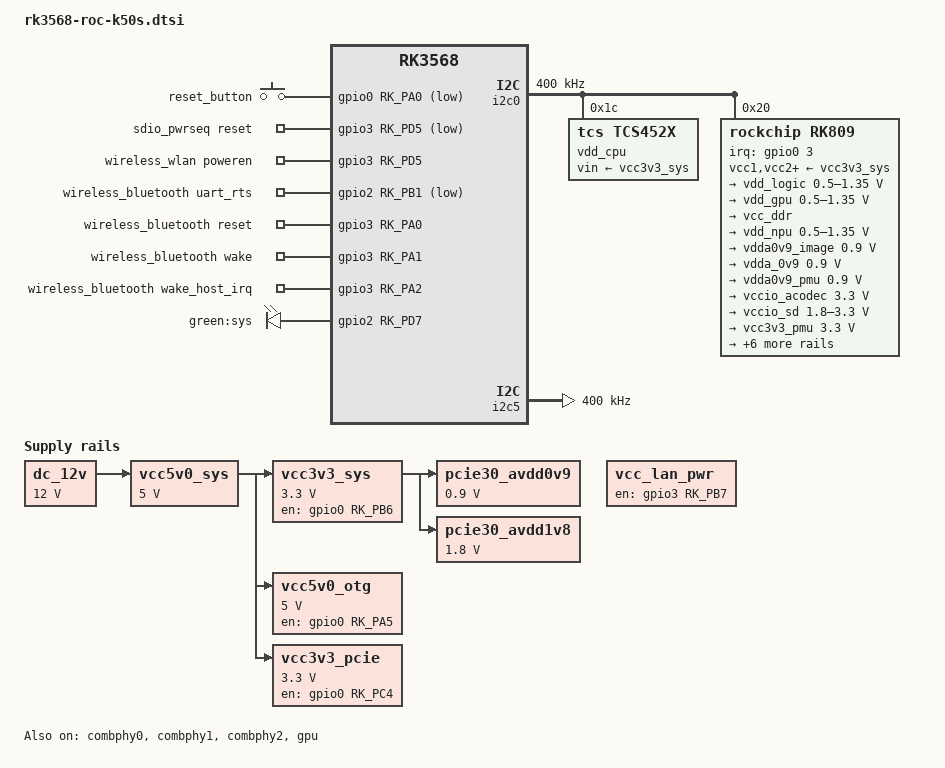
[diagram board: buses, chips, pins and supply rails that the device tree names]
// SPDX-License-Identifier: (GPL-2.0+ OR MIT)
/*
 * Copyright (c) 2020 Rockchip Electronics Co., Ltd.
 *
 */

/dts-v1/;

#include <dt-bindings/gpio/gpio.h>
#include <dt-bindings/pinctrl/rockchip.h>
#include <dt-bindings/pwm/pwm.h>
#include <dt-bindings/input/input.h>
#include "rk3568.dtsi"

/ {
	aliases {
		mmc0 = &sdmmc0;
		mmc1 = &sdhci;

		led-boot = &led_green;
		led-failsafe = &led_green;
		led-running = &led_green;
		led-upgrade = &led_green;
	};


	chosen {
		bootargs ="console=uart8250,mmio32,0xfe660000";
	};

	

	firmware {
		optee: optee {
			compatible = "linaro,optee-tz";
			method = "smc";
		};
	};


	cspmu: cspmu@fd90c000 {
		compatible = "rockchip,cspmu";
		reg = <0x0 0xfd90c000 0x0 0x1000>,
			<0x0 0xfd90d000 0x0 0x1000>,
			<0x0 0xfd90e000 0x0 0x1000>,
			<0x0 0xfd90f000 0x0 0x1000>;
	};

	dc_12v: dc-12v {
		compatible = "regulator-fixed";
		regulator-name = "dc_12v";
		regulator-always-on;
		regulator-boot-on;
		regulator-min-microvolt = <12000000>;
		regulator-max-microvolt = <12000000>;
	};

	vcc5v0_sys: vcc5v0-sys {
		compatible = "regulator-fixed";
		regulator-name = "vcc5v0_sys";
		regulator-always-on;
		regulator-boot-on;
		regulator-min-microvolt = <5000000>;
		regulator-max-microvolt = <5000000>;
		vin-supply = <&dc_12v>;
	};

	vcc3v3_sys: vcc3v3-sys {
		compatible = "regulator-fixed";
		regulator-name = "vcc3v3_sys";
		regulator-always-on;
		regulator-boot-on;
		regulator-min-microvolt = <3300000>;
		regulator-max-microvolt = <3300000>;
		enable-active-high;
		gpio = <&gpio0 RK_PB6 GPIO_ACTIVE_HIGH>;
		pinctrl-names = "default";
		
		vin-supply = <&vcc5v0_sys>;
	};

	vcc_lan_pwr: vcc-lan-pwr {
		compatible = "regulator-fixed";
		regulator-name = "vcc_lan_pwr";
		regulator-always-on;
		regulator-boot-on;
		enable-active-high;
		gpio = <&gpio3 RK_PB7 GPIO_ACTIVE_HIGH>;
	};

	vcc5v0_otg: vcc5v0-otg-regulator {
		compatible = "regulator-fixed";
		regulator-name = "vcc5v0_otg";
		regulator-min-microvolt = <5000000>;
		regulator-max-microvolt = <5000000>;
		enable-active-high;
		gpio = <&gpio0 RK_PA5 GPIO_ACTIVE_HIGH>;
		vin-supply = <&vcc5v0_sys>;
		pinctrl-names = "default";
		
	};

	pcie30_avdd0v9: pcie30-avdd0v9 {
		compatible = "regulator-fixed";
		regulator-name = "pcie30_avdd0v9";
		regulator-always-on;
		regulator-boot-on;
		regulator-min-microvolt = <900000>;
		regulator-max-microvolt = <900000>;
		vin-supply = <&vcc3v3_sys>;
	};

	pcie30_avdd1v8: pcie30-avdd1v8 {
		compatible = "regulator-fixed";
		regulator-name = "pcie30_avdd1v8";
		regulator-always-on;
		regulator-boot-on;
		regulator-min-microvolt = <1800000>;
		regulator-max-microvolt = <1800000>;
		vin-supply = <&vcc3v3_sys>;
	};

	vcc3v3_pcie: vcc3v3-pcie {
		compatible = "regulator-fixed";
		regulator-name = "vcc3v3_pcie";
		regulator-min-microvolt = <3300000>;
		regulator-max-microvolt = <3300000>;
		enable-active-high;
		gpio = <&gpio0 RK_PC4 GPIO_ACTIVE_HIGH>;
		startup-delay-us = <5000>;
		vin-supply = <&vcc5v0_sys>;
	};

	gpio-keys {
		compatible = "gpio-keys";
		pinctrl-names = "default";
		

		button@1 {
			label = "reset_button";
			linux,code = <KEY_RESTART>;
			gpios = <&gpio0 RK_PA0 GPIO_ACTIVE_LOW>;
			linux,input-type = <1>;
			debounce-interval = <60>;
		};
	};

    sdio_pwrseq: sdio-pwrseq {
        compatible = "mmc-pwrseq-simple";
        clocks = <&rk809 1>;
        clock-names = "ext_clock";
        pinctrl-names = "default";
        

        /*
         * On the module itself this is one of these (depending
         * on the actual card populated):
         * - SDIO_RESET_L_WL_REG_ON
         * - PDN (power down when low)
         */
        post-power-on-delay-ms = <200>;
        reset-gpios = <&gpio3 RK_PD5 GPIO_ACTIVE_LOW>;
    };

    wireless_wlan: wireless-wlan {
        compatible = "wlan-platdata";
        rockchip,grf = <&grf>;
        wifi_chip_type = "ap6255";
        WIFI,poweren_gpio = <&gpio3 RK_PD5 GPIO_ACTIVE_HIGH>;
        status = "okay";
    };

    wireless_bluetooth: wireless-bluetooth {
        compatible = "bluetooth-platdata";
        clocks = <&rk809 1>;
        clock-names = "ext_clock";
        //wifi-bt-power-toggle;
        uart_rts_gpios = <&gpio2 RK_PB1 GPIO_ACTIVE_LOW>;
        pinctrl-names = "default", "rts_gpio";
        
        
        BT,reset_gpio    = <&gpio3 RK_PA0 GPIO_ACTIVE_HIGH>;
        BT,wake_gpio     = <&gpio3 RK_PA1 GPIO_ACTIVE_HIGH>;
        BT,wake_host_irq = <&gpio3 RK_PA2 GPIO_ACTIVE_HIGH>;
        status = "okay";
    };

	leds {
		compatible = "gpio-leds";
		pinctrl-names = "default";
		

		led_green: green {
			gpios = <&gpio2 RK_PD7 GPIO_ACTIVE_HIGH>;
			label = "green:sys";
			linux,default-trigger = "heartbeat";
		};
		
	};

};

&combphy0 {
	status = "okay";
};

&combphy1 {
	status = "okay";
};

&combphy2 {
	status = "okay";
};

&cpu0 {
	cpu-supply = <&vdd_cpu>;
};

&dsi0 {
	status = "disabled";
};

&dsi1 {
	status = "disabled";
};

&gpu {
	mali-supply = <&vdd_gpu>;
	status = "okay";
};

&hdmi {
	status = "disabled";
};

&i2c0 {
	status = "okay";
	i2c-scl-rising-time-ns = <160>;
	i2c-scl-falling-time-ns = <30>;
	clock-frequency = <400000>;

	vdd_cpu: tcs4525@1c {
		compatible = "tcs,tcs452x";
		reg = <0x1c>;
		vin-supply = <&vcc3v3_sys>;
		regulator-compatible = "fan53555-reg";
		regulator-name = "vdd_cpu";
		regulator-min-microvolt = <712500>;
		regulator-max-microvolt = <1390000>;
		regulator-init-microvolt = <900000>;
		regulator-ramp-delay = <2300>;
		fcs,suspend-voltage-selector = <1>;
		regulator-boot-on;
		regulator-always-on;
		regulator-state-mem {
			regulator-off-in-suspend;
		};
	};

	rk809: pmic@20 {
		compatible = "rockchip,rk809";
		reg = <0x20>;
		interrupt-parent = <&gpio0>;
		interrupts = <3 IRQ_TYPE_LEVEL_LOW>;

		pinctrl-names = "default";
		

		rockchip,system-power-controller;
		wakeup-source;
		#clock-cells = <1>;
		clock-output-names = "rk808-clkout1", "rk808-clkout2";
		//fb-inner-reg-idxs = <2>;
		/* 1: rst regs (default in codes), 0: rst the pmic */
		pmic-reset-func = <0>;
		/* not save the PMIC_POWER_EN register in uboot */
		not-save-power-en = <1>;

		vcc1-supply = <&vcc3v3_sys>;
		vcc2-supply = <&vcc3v3_sys>;
		vcc3-supply = <&vcc3v3_sys>;
		vcc4-supply = <&vcc3v3_sys>;
		vcc5-supply = <&vcc3v3_sys>;
		vcc6-supply = <&vcc3v3_sys>;
		vcc7-supply = <&vcc3v3_sys>;
		vcc8-supply = <&vcc3v3_sys>;
		vcc9-supply = <&vcc3v3_sys>;

		pwrkey {
			status = "okay";
		};

		pinctrl_rk8xx: pinctrl_rk8xx {
			gpio-controller;
			#gpio-cells = <2>;

			rk817_slppin_null: rk817_slppin_null {
				pins = "gpio_slp";
				function = "pin_fun0";
			};

			rk817_slppin_slp: rk817_slppin_slp {
				pins = "gpio_slp";
				function = "pin_fun1";
			};

			rk817_slppin_pwrdn: rk817_slppin_pwrdn {
				pins = "gpio_slp";
				function = "pin_fun2";
			};

			rk817_slppin_rst: rk817_slppin_rst {
				pins = "gpio_slp";
				function = "pin_fun3";
			};
		};

		regulators {
			vdd_logic: DCDC_REG1 {
				regulator-always-on;
				regulator-boot-on;
				regulator-min-microvolt = <500000>;
				regulator-max-microvolt = <1350000>;
				regulator-init-microvolt = <900000>;
				regulator-ramp-delay = <6001>;
				regulator-initial-mode = <0x2>;
				regulator-name = "vdd_logic";
				regulator-state-mem {
					regulator-off-in-suspend;
				};
			};

			vdd_gpu: DCDC_REG2 {
				regulator-always-on;
				regulator-boot-on;
				regulator-min-microvolt = <500000>;
				regulator-max-microvolt = <1350000>;
				regulator-init-microvolt = <900000>;
				regulator-ramp-delay = <6001>;
				regulator-initial-mode = <0x2>;
				regulator-name = "vdd_gpu";
				regulator-state-mem {
					regulator-off-in-suspend;
				};
			};

			vcc_ddr: DCDC_REG3 {
				regulator-always-on;
				regulator-boot-on;
				regulator-initial-mode = <0x2>;
				regulator-name = "vcc_ddr";
				regulator-state-mem {
					regulator-on-in-suspend;
				};
			};

			vdd_npu: DCDC_REG4 {
				regulator-always-on;
				regulator-boot-on;
				regulator-min-microvolt = <500000>;
				regulator-max-microvolt = <1350000>;
				regulator-init-microvolt = <900000>;
				regulator-ramp-delay = <6001>;
				regulator-initial-mode = <0x2>;
				regulator-name = "vdd_npu";
				regulator-state-mem {
					regulator-off-in-suspend;
				};
			};

			vdda0v9_image: LDO_REG1 {
				regulator-boot-on;
				regulator-always-on;
				regulator-min-microvolt = <900000>;
				regulator-max-microvolt = <900000>;
				regulator-name = "vdda0v9_image";
				regulator-state-mem {
					regulator-off-in-suspend;
				};
			};

			vdda_0v9: LDO_REG2 {
				regulator-always-on;
				regulator-boot-on;
				regulator-min-microvolt = <900000>;
				regulator-max-microvolt = <900000>;
				regulator-name = "vdda_0v9";
				regulator-state-mem {
					regulator-off-in-suspend;
				};
			};

			vdda0v9_pmu: LDO_REG3 {
				regulator-always-on;
				regulator-boot-on;
				regulator-min-microvolt = <900000>;
				regulator-max-microvolt = <900000>;
				regulator-name = "vdda0v9_pmu";
				regulator-state-mem {
					regulator-on-in-suspend;
					regulator-suspend-microvolt = <900000>;
				};
			};

			vccio_acodec: LDO_REG4 {
				regulator-always-on;
				regulator-boot-on;
				regulator-min-microvolt = <3300000>;
				regulator-max-microvolt = <3300000>;
				regulator-name = "vccio_acodec";
				regulator-state-mem {
					regulator-off-in-suspend;
				};
			};

			vccio_sd: LDO_REG5 {
				regulator-always-on;
				regulator-boot-on;
				regulator-min-microvolt = <1800000>;
				regulator-max-microvolt = <3300000>;
				regulator-name = "vccio_sd";
				regulator-state-mem {
					regulator-off-in-suspend;
				};
			};

			vcc3v3_pmu: LDO_REG6 {
				regulator-always-on;
				regulator-boot-on;
				regulator-min-microvolt = <3300000>;
				regulator-max-microvolt = <3300000>;
				regulator-name = "vcc3v3_pmu";
				regulator-state-mem {
					regulator-on-in-suspend;
					regulator-suspend-microvolt = <3300000>;
				};
			};

			vcca_1v8: LDO_REG7 {
				regulator-always-on;
				regulator-boot-on;
				regulator-min-microvolt = <1800000>;
				regulator-max-microvolt = <1800000>;
				regulator-name = "vcca_1v8";
				regulator-state-mem {
					regulator-off-in-suspend;
				};
			};

			vcca1v8_pmu: LDO_REG8 {
				regulator-always-on;
				regulator-boot-on;
				regulator-min-microvolt = <1800000>;
				regulator-max-microvolt = <1800000>;
				regulator-name = "vcca1v8_pmu";
				regulator-state-mem {
					regulator-on-in-suspend;
					regulator-suspend-microvolt = <1800000>;
				};
			};

			vcca1v8_image: LDO_REG9 {
				regulator-always-on;
				regulator-boot-on;
				regulator-min-microvolt = <1800000>;
				regulator-max-microvolt = <1800000>;
				regulator-name = "vcca1v8_image";
				regulator-state-mem {
					regulator-off-in-suspend;
				};
			};

			vcc_1v8: DCDC_REG5 {
				regulator-always-on;
				regulator-boot-on;
				regulator-min-microvolt = <1800000>;
				regulator-max-microvolt = <1800000>;
				regulator-name = "vcc_1v8";
				regulator-state-mem {
					regulator-off-in-suspend;
				};
			};

			vcc_3v3: SWITCH_REG1 {
				regulator-always-on;
				regulator-boot-on;
				regulator-name = "vcc_3v3";
				regulator-state-mem {
					regulator-off-in-suspend;
				};
			};

			vcc3v3_sd: SWITCH_REG2 {
				regulator-always-on;
				regulator-boot-on;
				regulator-name = "vcc3v3_sd";
				regulator-state-mem {
					regulator-off-in-suspend;
				};
			};
		};

		rk809_codec: codec {
			status = "disabled";
		};
	};
};

&i2c5 {
	status = "okay";
	i2c-scl-rising-time-ns = <160>;
	i2c-scl-falling-time-ns = <30>;
	clock-frequency = <400000>;
};
